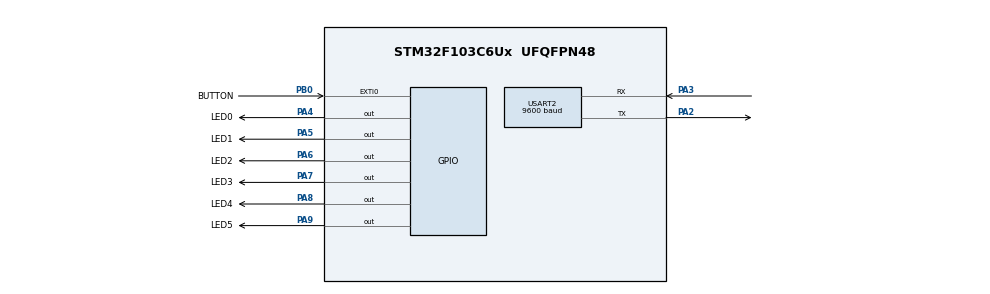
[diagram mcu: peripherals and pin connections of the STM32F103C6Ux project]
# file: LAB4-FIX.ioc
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Mcu.Family=STM32F1
Mcu.Name=STM32F103C6Ux
Mcu.Package=UFQFPN48
NVIC.EXTI0_IRQn=true\:0\:0\:false\:false\:true\:true\:true\:true
NVIC.PriorityGroup=NVIC_PRIORITYGROUP_4
NVIC.TIM2_IRQn=true\:0\:0\:false\:false\:true\:true\:true\:true
NVIC.USART2_IRQn=true\:0\:0\:false\:false\:true\:true\:true\:true
PA2.Mode=Asynchronous
PA2.Signal=USART2_TX
PA3.Mode=Asynchronous
PA3.Signal=USART2_RX
PA4.GPIO_Label=LED0
PA4.Signal=GPIO_Output
PA5.GPIO_Label=LED1
PA5.Signal=GPIO_Output
PA6.GPIO_Label=LED2
PA6.Signal=GPIO_Output
PA7.GPIO_Label=LED3
PA7.Signal=GPIO_Output
PA8.GPIO_Label=LED4
PA8.Signal=GPIO_Output
PA9.GPIO_Label=LED5
PA9.Signal=GPIO_Output
PB0.GPIO_Label=BUTTON
PB0.GPIO_ModeDefaultEXTI=GPIO_MODE_IT_FALLING
PB0.Signal=GPXTI0
ProjectManager.HeapSize=0x200
ProjectManager.StackSize=0x400
ProjectManager.TargetToolchain=STM32CubeIDE
RCC.APB1Freq_Value=8000000
RCC.APB2Freq_Value=8000000
TIM2.Period=9
TIM2.Prescaler=7999
USART2.BaudRate=9600
USART2.VirtualMode=VM_ASYNC
VP_TIM2_VS_ClockSourceINT.Mode=Internal
board=custom

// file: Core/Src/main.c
/* USER CODE BEGIN Header */
/**
  ******************************************************************************
  * @file           : main.c
  * @brief          : Main program body
  ******************************************************************************
  * @attention
  *
  * Copyright (c) 2024 STMicroelectronics.
  * All rights reserved.
  *
  * This software is licensed under terms that can be found in the LICENSE file
  * in the root directory of this software component.
  * If no LICENSE file comes with this software, it is provided AS-IS.
  *
  ******************************************************************************
  */
/* USER CODE END Header */
#include "main.h"

/* USER CODE BEGIN Includes */
#include "SCHEDULER.h"
#include "task.h"
#include "button.h"
#include "global.h"
/* USER CODE END Includes */

TIM_HandleTypeDef htim2;

UART_HandleTypeDef huart2;

void SystemClock_Config(void);
static void MX_GPIO_Init(void);
static void MX_TIM2_Init(void);
static void MX_USART2_UART_Init(void);

/* USER CODE BEGIN 0 */

void HAL_GPIO_EXTI_Callback(uint16_t GPIO_Pin)
{
    if (GPIO_Pin == BUTTON_Pin)
    {
      if (HAL_GPIO_ReadPin(BUTTON_GPIO_Port, BUTTON_Pin) == GPIO_PIN_RESET) {
            HAL_UART_Transmit(&huart2, (uint8_t *)"Button is pressed\r\n", 19, 1000);

            SCH_Add_Task(TASK_5, 2000, 3000);
        }
    }
}
/* USER CODE END 0 */

int main(void)
{

  /* MCU Configuration--------------------------------------------------------*/

  /* Reset of all peripherals, Initializes the Flash interface and the Systick. */
  HAL_Init();

  /* Configure the system clock */
  SystemClock_Config();

  /* Initialize all configured peripherals */
  MX_GPIO_Init();
  MX_TIM2_Init();
  MX_USART2_UART_Init();
  /* USER CODE BEGIN 2 */
  HAL_TIM_Base_Start_IT(&htim2);
  SCH_Init();
  unsigned char task_index=0;
  task_index = SCH_Add_Task(TASK_0, 500, 500);
   HAL_UART_Transmit(&huart2, (uint8_t *)data, sprintf(data, "Task %d is added\r\n", task_index), 1000);
  task_index = SCH_Add_Task(TASK_1, 1000, 1000);
   HAL_UART_Transmit(&huart2, (uint8_t *)data, sprintf(data, "Task %d is added\r\n", task_index), 1000);
   task_index = SCH_Add_Task(TASK_2, 1500, 1500);
   HAL_UART_Transmit(&huart2, (uint8_t *)data, sprintf(data, "Task %d is added\r\n", task_index), 1000);
   task_index = SCH_Add_Task(TASK_3, 2000, 2000);
   HAL_UART_Transmit(&huart2, (uint8_t *)data, sprintf(data, "Task %d is added\r\n", task_index), 1000);
   task_index = SCH_Add_Task(TASK_4, 2500, 2500);
   HAL_UART_Transmit(&huart2, (uint8_t *)data, sprintf(data, "Task %d is added\r\n", task_index), 1000);
  /* USER CODE END 2 */
   setTimer0(500);
  /* Infinite loop */
  while (1)
  {
	  SCH_Dispatch_Tasks();
		  if (timer0_flag == 1) {
				  HAL_GPIO_TogglePin(LED5_GPIO_Port, LED5_Pin);
				  setTimer0(500);
			  }
  }
}

void SystemClock_Config(void)
{
  RCC_OscInitTypeDef RCC_OscInitStruct = {0};
  RCC_ClkInitTypeDef RCC_ClkInitStruct = {0};

  /** Initializes the RCC Oscillators according to the specified parameters
  * in the RCC_OscInitTypeDef structure.
  */
  RCC_OscInitStruct.OscillatorType = RCC_OSCILLATORTYPE_HSI;
  RCC_OscInitStruct.HSIState = RCC_HSI_ON;
  RCC_OscInitStruct.HSICalibrationValue = RCC_HSICALIBRATION_DEFAULT;
  RCC_OscInitStruct.PLL.PLLState = RCC_PLL_NONE;
  if (HAL_RCC_OscConfig(&RCC_OscInitStruct) != HAL_OK)
  {
    Error_Handler();
  }

  /** Initializes the CPU, AHB and APB buses clocks
  */
  RCC_ClkInitStruct.ClockType = RCC_CLOCKTYPE_HCLK|RCC_CLOCKTYPE_SYSCLK
                              |RCC_CLOCKTYPE_PCLK1|RCC_CLOCKTYPE_PCLK2;
  RCC_ClkInitStruct.SYSCLKSource = RCC_SYSCLKSOURCE_HSI;
  RCC_ClkInitStruct.AHBCLKDivider = RCC_SYSCLK_DIV1;
  RCC_ClkInitStruct.APB1CLKDivider = RCC_HCLK_DIV1;
  RCC_ClkInitStruct.APB2CLKDivider = RCC_HCLK_DIV1;

  if (HAL_RCC_ClockConfig(&RCC_ClkInitStruct, FLASH_LATENCY_0) != HAL_OK)
  {
    Error_Handler();
  }
}

static void MX_TIM2_Init(void)
{

  TIM_ClockConfigTypeDef sClockSourceConfig = {0};
  TIM_MasterConfigTypeDef sMasterConfig = {0};

  htim2.Instance = TIM2;
  htim2.Init.Prescaler = 7999;
  htim2.Init.CounterMode = TIM_COUNTERMODE_UP;
  htim2.Init.Period = 9;
  htim2.Init.ClockDivision = TIM_CLOCKDIVISION_DIV1;
  htim2.Init.AutoReloadPreload = TIM_AUTORELOAD_PRELOAD_DISABLE;
  if (HAL_TIM_Base_Init(&htim2) != HAL_OK)
  {
    Error_Handler();
  }
  sClockSourceConfig.ClockSource = TIM_CLOCKSOURCE_INTERNAL;
  if (HAL_TIM_ConfigClockSource(&htim2, &sClockSourceConfig) != HAL_OK)
  {
    Error_Handler();
  }
  sMasterConfig.MasterOutputTrigger = TIM_TRGO_RESET;
  sMasterConfig.MasterSlaveMode = TIM_MASTERSLAVEMODE_DISABLE;
  if (HAL_TIMEx_MasterConfigSynchronization(&htim2, &sMasterConfig) != HAL_OK)
  {
    Error_Handler();
  }

}

static void MX_USART2_UART_Init(void)
{

  huart2.Instance = USART2;
  huart2.Init.BaudRate = 9600;
  huart2.Init.WordLength = UART_WORDLENGTH_8B;
  huart2.Init.StopBits = UART_STOPBITS_1;
  huart2.Init.Parity = UART_PARITY_NONE;
  huart2.Init.Mode = UART_MODE_TX_RX;
  huart2.Init.HwFlowCtl = UART_HWCONTROL_NONE;
  huart2.Init.OverSampling = UART_OVERSAMPLING_16;
  if (HAL_UART_Init(&huart2) != HAL_OK)
  {
    Error_Handler();
  }

}

static void MX_GPIO_Init(void)
{
  GPIO_InitTypeDef GPIO_InitStruct = {0};

  /* GPIO Ports Clock Enable */
  __HAL_RCC_GPIOA_CLK_ENABLE();
  __HAL_RCC_GPIOB_CLK_ENABLE();

  /*Configure GPIO pin Output Level */
  HAL_GPIO_WritePin(GPIOA, LED0_Pin|LED1_Pin|LED2_Pin|LED3_Pin
                          |LED4_Pin|LED5_Pin, GPIO_PIN_RESET);

  /*Configure GPIO pins : LED0_Pin LED1_Pin LED2_Pin LED3_Pin
                           LED4_Pin LED5_Pin */
  GPIO_InitStruct.Pin = LED0_Pin|LED1_Pin|LED2_Pin|LED3_Pin
                          |LED4_Pin|LED5_Pin;
  GPIO_InitStruct.Mode = GPIO_MODE_OUTPUT_PP;
  GPIO_InitStruct.Pull = GPIO_NOPULL;
  GPIO_InitStruct.Speed = GPIO_SPEED_FREQ_LOW;
  HAL_GPIO_Init(GPIOA, &GPIO_InitStruct);

  /*Configure GPIO pin : BUTTON_Pin */
  GPIO_InitStruct.Pin = BUTTON_Pin;
  GPIO_InitStruct.Mode = GPIO_MODE_IT_FALLING;
  GPIO_InitStruct.Pull = GPIO_NOPULL;
  HAL_GPIO_Init(BUTTON_GPIO_Port, &GPIO_InitStruct);

  /* EXTI interrupt init*/
  HAL_NVIC_SetPriority(EXTI0_IRQn, 0, 0);
  HAL_NVIC_EnableIRQ(EXTI0_IRQn);

}

/* USER CODE BEGIN 4 */
void HAL_TIM_PeriodElapsedCallback(TIM_HandleTypeDef *htim){
		SCH_Update();

		time_stamp++;
		timer_run();

 }
/* USER CODE END 4 */

void Error_Handler(void)
{
  __disable_irq();
  while (1)
  {
  }
}
